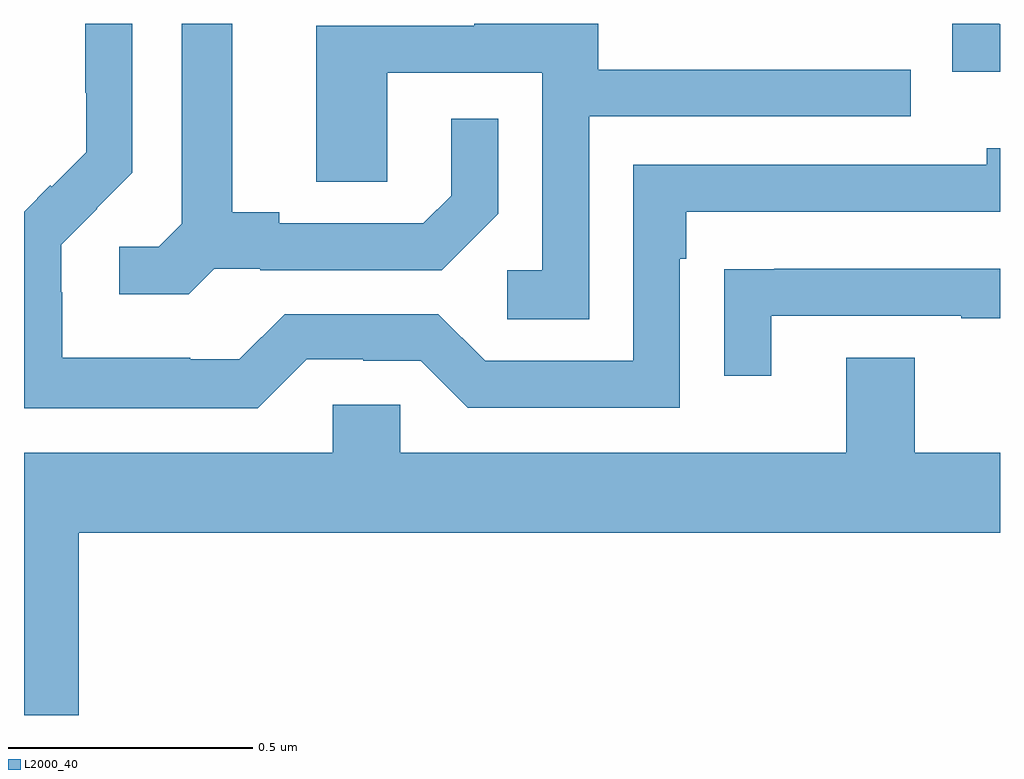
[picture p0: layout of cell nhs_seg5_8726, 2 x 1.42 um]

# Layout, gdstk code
import gdstk
lib = gdstk.Library(unit=1e-6, precision=1e-09)
def P(c, l, *ps):  # polygons
    for p in ps: c.add(gdstk.Polygon(p, *l))
L2000_40 = (2000, 40)

nhs_seg5_8726 = lib.new_cell('nhs_seg5_8726')
P(nhs_seg5_8726, L2000_40, [(225.579,861.111),(225.695,861.111),(225.695,861.108),(225.813,861.108),(225.909,861.012),(226.344,861.012),(226.344,861.317),(226.357,861.317),(226.357,861.414),(227,861.414),(227,861.544),(226.973,861.544),(226.973,861.51),(226.248,861.51),(226.248,861.108),(225.945,861.108),(225.849,861.204),(225.534,861.204),(225.441,861.111),(225.341,861.111),(225.341,861.115),(225.078,861.115),(225.078,861.249),(225.076,861.249),(225.076,861.346),(225.15,861.42),(225.149,861.421),(225.222,861.494),(225.222,861.799),(225.126,861.799),(225.126,861.658),(225.128,861.658),(225.128,861.536),(225.057,861.465),(225.054,861.468),(225,861.414),(225,861.011),(225.479,861.011)],
  [(226.158,861.609),(226.817,861.609),(226.817,861.705),(226.177,861.705),(226.177,861.799),(225.923,861.799),(225.923,861.795),(225.599,861.795),(225.599,861.475),(225.744,861.475),(225.744,861.699),(226.062,861.699),(226.062,861.294),(225.99,861.294),(225.99,861.193),(226.158,861.193)],
  [(227,861.798),(226.998,861.798),(226.998,861.799),(226.902,861.799),(226.902,861.701),(227,861.701)],
  [(225.39,861.297),(225.484,861.297),(225.484,861.294),(225.856,861.294),(225.972,861.41),(225.972,861.604),(225.875,861.604),(225.875,861.447),(225.818,861.39),(225.523,861.39),(225.523,861.413),(225.427,861.413),(225.427,861.799),(225.323,861.799),(225.323,861.389),(225.276,861.342),(225.195,861.342),(225.195,861.245),(225.338,861.245)],
  [(226.531,861.201),(226.921,861.201),(226.921,861.196),(227,861.196),(227,861.297),(226.537,861.297),(226.537,861.296),(226.435,861.296),(226.435,861.078),(226.531,861.078)],
  [(225.112,860.756),(227,860.756),(227,860.92),(226.825,860.92),(226.825,861.115),(226.685,861.115),(226.685,860.92),(225.771,860.92),(225.771,861.018),(225.633,861.018),(225.633,860.92),(225,860.92),(225,860.382),(225.112,860.382)])

lib.write_gds('nhs_seg5_8726.gds')
